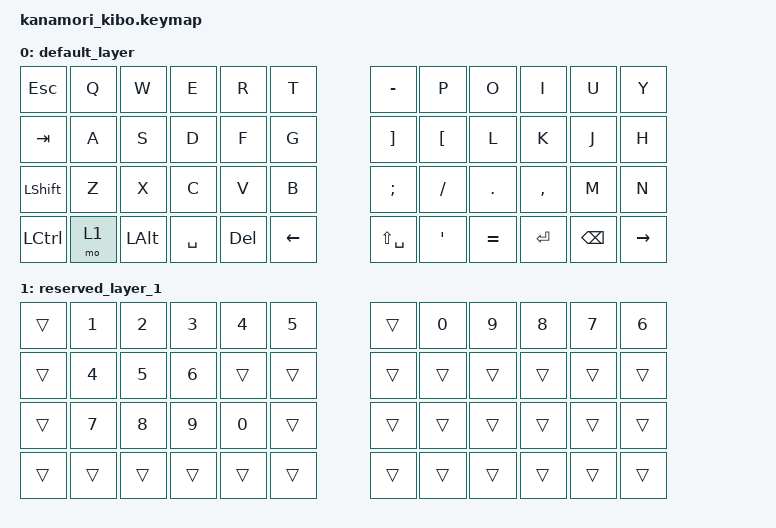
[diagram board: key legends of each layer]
// This file was generated from a template. Edit it to match your keyboard.
// See https://zmk.dev/docs/development/hardware-integration/new-shield for more instructions.

#include <behaviors.dtsi>
#include <dt-bindings/zmk/keys.h>

/ {
    // Define a default keymap here.
    // See https://zmk.dev/docs/development/hardware-integration/new-shield#default-keymap.
    keymap {
        compatible = "zmk,keymap";

        default_layer {
            // Placeholder bindings, matches the 4x6-per-hand ortholinear grid.
            bindings = <
                &kp ESC &kp Q  &kp W  &kp E  &kp R  &kp T                     &kp MINUS   &kp P     &kp O     &kp I  &kp U  &kp Y
                &kp TAB  &kp A  &kp S  &kp D  &kp F  &kp G                    &kp RBKT   &kp LBKT  &kp L     &kp K  &kp J  &kp H
                &kp LSHIFT  &kp Z  &kp X  &kp C  &kp V  &kp B                 &kp SEMI &kp FSLH   &kp DOT   &kp COMMA   &kp M   &kp N
                &kp LCTRL  &mo 1  &kp LALT  &kp SPACE &kp DEL &kp LEFT      &kp LS(SPACE)  &kp SQT &kp EQUAL   &kp RET &kp BSPC &kp RIGHT
            >;
        };

        // Reserved (disabled) layer slots so ZMK Studio has room to add layers.
        // Studio fills these in; they don't take effect in normal builds.
        reserved_layer_1 {
            bindings = <
                &trans &kp N1 &kp N2 &kp N3 &kp N4 &kp N5      &trans &kp N0 &kp N9 &kp N8 &kp N7 &kp N6
                &trans &kp N4 &kp N5 &kp N6 &trans &trans      &trans &trans &trans &trans &trans &trans
                &trans &kp N7 &kp N8 &kp N9 &kp N0 &trans      &trans &trans &trans &trans &trans &trans
                &trans &trans &trans &trans &trans &trans      &trans &trans &trans &trans &trans &trans
            >;
        };

        reserved_layer_2 {
            status = "disabled";
            bindings = <
                &trans &trans &trans &trans &trans &trans      &trans &trans &trans &trans &trans &trans
                &trans &trans &trans &trans &trans &trans      &trans &trans &trans &trans &trans &trans
                &trans &trans &trans &trans &trans &trans      &trans &trans &trans &trans &trans &trans
                &trans &trans &trans &trans &trans &trans      &trans &trans &trans &trans &trans &trans
            >;
        };

        reserved_layer_3 {
            status = "disabled";
            bindings = <
                &trans &trans &trans &trans &trans &trans      &trans &trans &trans &trans &trans &trans
                &trans &trans &trans &trans &trans &trans      &trans &trans &trans &trans &trans &trans
                &trans &trans &trans &trans &trans &trans      &trans &trans &trans &trans &trans &trans
                &trans &trans &trans &trans &trans &trans      &trans &trans &trans &trans &trans &trans
            >;
        };

        reserved_layer_4 {
            status = "disabled";
            bindings = <
                &trans &trans &trans &trans &trans &trans      &trans &trans &trans &trans &trans &trans
                &trans &trans &trans &trans &trans &trans      &trans &trans &trans &trans &trans &trans
                &trans &trans &trans &trans &trans &trans      &trans &trans &trans &trans &trans &trans
                &trans &trans &trans &trans &trans &trans      &trans &trans &trans &trans &trans &trans
            >;
        };
    };
};
